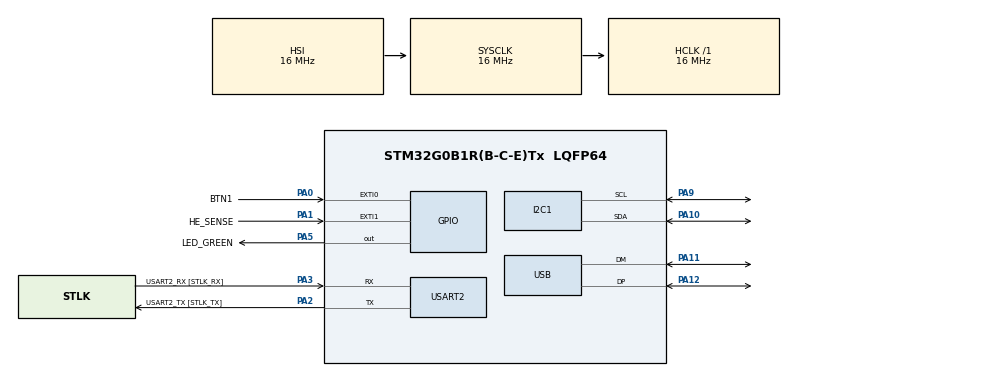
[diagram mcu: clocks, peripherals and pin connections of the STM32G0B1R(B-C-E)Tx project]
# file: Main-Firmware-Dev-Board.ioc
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Mcu.Family=STM32G0
Mcu.Name=STM32G0B1R(B-C-E)Tx
Mcu.Package=LQFP64
NVIC.EXTI0_1_IRQn=true\:0\:0\:false\:false\:true\:true\:true\:true
NVIC.TIM2_IRQn=true\:0\:0\:false\:false\:true\:true\:true\:true
NVIC.TIM3_TIM4_IRQn=true\:0\:0\:false\:false\:true\:true\:true\:true
NVIC.TIM6_DAC_LPTIM1_IRQn=true\:0\:0\:false\:false\:true\:true\:true\:true
NVIC.USB_UCPD1_2_IRQn=true\:1\:0\:true\:false\:true\:true\:true\:true
PA0.GPIO_Label=BTN1
PA0.GPIO_ModeDefaultEXTI=GPIO_MODE_IT_FALLING
PA0.GPIO_PuPd=GPIO_PULLUP
PA0.Signal=GPXTI0
PA1.GPIO_Label=HE_SENSE
PA1.GPIO_ModeDefaultEXTI=GPIO_MODE_IT_FALLING
PA1.GPIO_PuPd=GPIO_PULLDOWN
PA1.Signal=GPXTI1
PA10.Mode=I2C
PA10.Signal=I2C1_SDA
PA11\ [PA9].Mode=Device
PA11\ [PA9].Signal=USB_DM
PA12\ [PA10].Mode=Device
PA12\ [PA10].Signal=USB_DP
PA13.GPIO_Label=TMS
PA13.Mode=Serial_Wire
PA13.Signal=SYS_SWDIO
PA14-BOOT0.GPIO_Label=TCK
PA14-BOOT0.Mode=Serial_Wire
PA14-BOOT0.Signal=SYS_SWCLK
PA2.GPIO_Label=USART2_TX [STLK_TX]
PA2.Mode=Asynchronous
PA2.Signal=USART2_TX
PA3.GPIO_Label=USART2_RX [STLK_RX]
PA3.Mode=Asynchronous
PA3.Signal=USART2_RX
PA5.GPIO_Label=LED_GREEN
PA5.GPIO_Speed=GPIO_SPEED_FREQ_HIGH
PA5.Signal=GPIO_Output
PA9.Mode=I2C
PA9.Signal=I2C1_SCL
PC13.Mode=SYS_WakeUp1
PC13.Signal=SYS_WKUP2
PC14-OSC32_IN\ (PC14).Mode=LSE-External-Oscillator
PC14-OSC32_IN\ (PC14).Signal=RCC_OSC32_IN
PC15-OSC32_OUT\ (PC15).Mode=LSE-External-Oscillator
PC15-OSC32_OUT\ (PC15).Signal=RCC_OSC32_OUT
PF0-OSC_IN\ (PF0).GPIO_Label=MCO
PF0-OSC_IN\ (PF0).Mode=HSE-External-Clock-Source
PF0-OSC_IN\ (PF0).Signal=RCC_OSC_IN
ProjectManager.HeapSize=0x200
ProjectManager.StackSize=0x400
ProjectManager.TargetToolchain=STM32CubeIDE
RCC.AHBFreq_Value=16000000
RCC.CortexFreq_Value=16000000
RCC.EXTERNAL_CLOCK_VALUE=12288000
RCC.HCLKFreq_Value=16000000
RCC.HSE_VALUE=8000000
RCC.HSI48_VALUE=48000000
RCC.HSI_VALUE=16000000
RCC.SYSCLKFreq_VALUE=16000000
RCC.USBFreq_Value=48000000
RCC.VCOOutputFreq_Value=128000000
TIM2.Period=166
TIM2.Prescaler=1599
TIM3.Period=50
TIM3.Prescaler=32000
TIM4.Period=50
TIM4.Prescaler=32000
TIM6.AutoReloadPreload=TIM_AUTORELOAD_PRELOAD_ENABLE
TIM6.Period=3000
TIM6.Prescaler=15999
USART2.VirtualMode-Asynchronous=VM_ASYNC
USB_DEVICE.CLASS_NAME_FS=CUSTOM_HID
USB_DEVICE.PID_CUSTOMHID_FS=22555
USB_DEVICE.PRODUCT_STRING_CUSTOMHID_FS=Kryofox Rage Quit Button
USB_DEVICE.USBD_CUSTOMHID_OUTREPORT_BUF_SIZE=64
USB_DEVICE.USBD_CUSTOM_HID_REPORT_DESC_SIZE=33
USB_DEVICE.VirtualMode=CustomHid
USB_DEVICE.VirtualModeFS=Custom_Hid_FS
VP_TIM2_VS_ClockSourceINT.Mode=Internal
VP_TIM3_VS_ClockSourceINT.Mode=Internal
VP_TIM4_VS_ClockSourceINT.Mode=Internal
VP_TIM6_VS_ClockSourceINT.Mode=Enable_Timer
VP_USB_DEVICE_VS_USB_DEVICE_CUSTOM_HID_FS.Mode=CUSTOM_HID_FS
board=NUCLEO-G0B1RE

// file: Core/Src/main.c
/* USER CODE BEGIN Header */
/**
  ******************************************************************************
  * @file           : main.c
  * @brief          : Main program body
  ******************************************************************************
  * @attention
  *
  * Copyright (c) 2023 STMicroelectronics.
  * All rights reserved.
  *
  * This software is licensed under terms that can be found in the LICENSE file
  * in the root directory of this software component.
  * If no LICENSE file comes with this software, it is provided AS-IS.
  *
  ******************************************************************************
  */
/* USER CODE END Header */
#include "main.h"
#include "usb_device.h"

/* USER CODE BEGIN Includes */
#include <stdbool.h>
#include "LP5024_Driver.h"
#include "LED_Handler.h"
/* USER CODE END Includes */

/* USER CODE BEGIN PD */
  #define REPORT_NONE            0x00
  #define REPORT_IDLE_LIGHT      0x01
  #define REPORT_BUTTON_LIGHT    0x02
  #define REPORT_LID_LIFT_LIGHT  0x03
  #define REPORT_BUTTON_DURATION 0x04
  #define BULK_SETTINGS_LOAD     0x05

  #define BTN_PRESS_CMD "btn"
  #define SETT_REQ_CMD "req"

/* USER CODE END PD */

I2C_HandleTypeDef hi2c1;

TIM_HandleTypeDef htim2;
TIM_HandleTypeDef htim3;
TIM_HandleTypeDef htim4;
TIM_HandleTypeDef htim6;

UART_HandleTypeDef huart2;

/* USER CODE BEGIN PV */
uint8_t tx_buffer[64];		//Variable to store the output data
uint8_t report_buffer[64];		//Variable to receive the report buffer

volatile bool btn_flag = true;
volatile bool hse_flag = true;

volatile uint8_t flag = 0;			//Variable to store the button flag
volatile bool flag_rx = false;	//Variable to store the reception flag
volatile bool flag_settingReq = false;
volatile bool flag_btnLight = false;
volatile uint16_t reqSettingCnt = 0;
volatile bool settingsLoaded = false;
volatile bool update_led = false;

//extern the USB handler
extern USBD_HandleTypeDef hUsbDeviceFS;

/* USER CODE END PV */

void SystemClock_Config(void);
static void MX_GPIO_Init(void);
static void MX_USART2_UART_Init(void);
static void MX_I2C1_Init(void);
static void MX_TIM2_Init(void);
static void MX_TIM3_Init(void);
static void MX_TIM4_Init(void);
static void MX_TIM6_Init(void);

int main(void)
{

  /* MCU Configuration--------------------------------------------------------*/

  /* Reset of all peripherals, Initializes the Flash interface and the Systick. */
  HAL_Init();

  /* Configure the system clock */
  SystemClock_Config();

  /* Initialize all configured peripherals */
  MX_GPIO_Init();
  MX_USART2_UART_Init();
  MX_I2C1_Init();
  MX_USB_Device_Init();
  MX_TIM2_Init();
  MX_TIM3_Init();
  MX_TIM4_Init();
  MX_TIM6_Init();
  /* USER CODE BEGIN 2 */
  LP5024_Init();

  /* Start TIM2 */
  HAL_TIM_Base_Start_IT(&htim2);

  /* USER CODE END 2 */

  /* Infinite loop */
  /* USER CODE BEGIN WHILE */
  while(1)
  {
    if(flag_settingReq){
      tx_buffer[0] = '\0';
      memcpy(tx_buffer, SETT_REQ_CMD, sizeof(SETT_REQ_CMD));
      USBD_CUSTOM_HID_SendReport_FS(tx_buffer, 64);
      flag_settingReq = false;
    }

		if (flag_rx) {
			//Check if the first byte of the report buffer equals 1
			if (report_buffer[0] == REPORT_IDLE_LIGHT) {
				uint32_t theSetting = (report_buffer[2] << 16) | (report_buffer[3] << 8) | report_buffer[4];
				UpdateLightingConfiguration(&idleLightingConfig, report_buffer[1], theSetting);
			} else if (report_buffer[0] == REPORT_BUTTON_LIGHT) {
				uint32_t theSetting = (report_buffer[2] << 16) | (report_buffer[3] << 8) | report_buffer[4];
				UpdateLightingConfiguration(&buttonPressLightingConfig, report_buffer[1], theSetting);
			} else if (report_buffer[0] == REPORT_LID_LIFT_LIGHT) {
				uint32_t theSetting = (report_buffer[2] << 16) | (report_buffer[3] << 8) | report_buffer[4];
				UpdateLightingConfiguration(&lidLiftLightingConfig, report_buffer[1], theSetting);
      } else if (report_buffer[0] == REPORT_BUTTON_DURATION) {
        uint32_t theSetting = (report_buffer[2] << 16) | (report_buffer[3] << 8) | report_buffer[4];
        UpdateButtonConfiguration(&buttonConfig, report_buffer[1], theSetting);
			} else if (report_buffer[0] == BULK_SETTINGS_LOAD) {
				updateBulkLightSettings(report_buffer, sizeof report_buffer);
        settingsLoaded = true;
			}
			flag_rx = false;
		}

    if(flag_btnLight)
    {
      activeLightingConfig = &buttonPressLightingConfig;
    }
    else if(!hse_flag)
    {
      activeLightingConfig = &lidLiftLightingConfig;
    }
    else
    {
      activeLightingConfig = &idleLightingConfig;
    }

		if (update_led) {

      LightingHandler();

			// Reset flag
			update_led = false;

      if(reqSettingCnt > 180)
      {
        flag_settingReq = true;
        reqSettingCnt = 0;
      }
		}
    /* USER CODE END WHILE */

    }
}

void SystemClock_Config(void)
{
  RCC_OscInitTypeDef RCC_OscInitStruct = {0};
  RCC_ClkInitTypeDef RCC_ClkInitStruct = {0};

  /** Configure the main internal regulator output voltage
  */
  HAL_PWREx_ControlVoltageScaling(PWR_REGULATOR_VOLTAGE_SCALE1);

  /** Initializes the RCC Oscillators according to the specified parameters
  * in the RCC_OscInitTypeDef structure.
  */
  RCC_OscInitStruct.OscillatorType = RCC_OSCILLATORTYPE_HSI|RCC_OSCILLATORTYPE_HSI48;
  RCC_OscInitStruct.HSIState = RCC_HSI_ON;
  RCC_OscInitStruct.HSI48State = RCC_HSI48_ON;
  RCC_OscInitStruct.HSIDiv = RCC_HSI_DIV1;
  RCC_OscInitStruct.HSICalibrationValue = RCC_HSICALIBRATION_DEFAULT;
  RCC_OscInitStruct.PLL.PLLState = RCC_PLL_NONE;
  if (HAL_RCC_OscConfig(&RCC_OscInitStruct) != HAL_OK)
  {
    Error_Handler();
  }

  /** Initializes the CPU, AHB and APB buses clocks
  */
  RCC_ClkInitStruct.ClockType = RCC_CLOCKTYPE_HCLK|RCC_CLOCKTYPE_SYSCLK
                              |RCC_CLOCKTYPE_PCLK1;
  RCC_ClkInitStruct.SYSCLKSource = RCC_SYSCLKSOURCE_HSI;
  RCC_ClkInitStruct.AHBCLKDivider = RCC_SYSCLK_DIV1;
  RCC_ClkInitStruct.APB1CLKDivider = RCC_HCLK_DIV1;

  if (HAL_RCC_ClockConfig(&RCC_ClkInitStruct, FLASH_LATENCY_0) != HAL_OK)
  {
    Error_Handler();
  }
}

static void MX_I2C1_Init(void)
{

  hi2c1.Instance = I2C1;
  hi2c1.Init.Timing = 0x00303D5B;
  hi2c1.Init.OwnAddress1 = 0;
  hi2c1.Init.AddressingMode = I2C_ADDRESSINGMODE_7BIT;
  hi2c1.Init.DualAddressMode = I2C_DUALADDRESS_DISABLE;
  hi2c1.Init.OwnAddress2 = 0;
  hi2c1.Init.OwnAddress2Masks = I2C_OA2_NOMASK;
  hi2c1.Init.GeneralCallMode = I2C_GENERALCALL_DISABLE;
  hi2c1.Init.NoStretchMode = I2C_NOSTRETCH_DISABLE;
  if (HAL_I2C_Init(&hi2c1) != HAL_OK)
  {
    Error_Handler();
  }

  /** Configure Analogue filter
  */
  if (HAL_I2CEx_ConfigAnalogFilter(&hi2c1, I2C_ANALOGFILTER_ENABLE) != HAL_OK)
  {
    Error_Handler();
  }

  /** Configure Digital filter
  */
  if (HAL_I2CEx_ConfigDigitalFilter(&hi2c1, 0) != HAL_OK)
  {
    Error_Handler();
  }

}

static void MX_TIM2_Init(void)
{

  TIM_ClockConfigTypeDef sClockSourceConfig = {0};
  TIM_MasterConfigTypeDef sMasterConfig = {0};

  htim2.Instance = TIM2;
  htim2.Init.Prescaler = 1599;
  htim2.Init.CounterMode = TIM_COUNTERMODE_UP;
  htim2.Init.Period = 166;
  htim2.Init.ClockDivision = TIM_CLOCKDIVISION_DIV1;
  htim2.Init.AutoReloadPreload = TIM_AUTORELOAD_PRELOAD_DISABLE;
  if (HAL_TIM_Base_Init(&htim2) != HAL_OK)
  {
    Error_Handler();
  }
  sClockSourceConfig.ClockSource = TIM_CLOCKSOURCE_INTERNAL;
  if (HAL_TIM_ConfigClockSource(&htim2, &sClockSourceConfig) != HAL_OK)
  {
    Error_Handler();
  }
  sMasterConfig.MasterOutputTrigger = TIM_TRGO_RESET;
  sMasterConfig.MasterSlaveMode = TIM_MASTERSLAVEMODE_DISABLE;
  if (HAL_TIMEx_MasterConfigSynchronization(&htim2, &sMasterConfig) != HAL_OK)
  {
    Error_Handler();
  }

}

static void MX_TIM3_Init(void)
{

  TIM_ClockConfigTypeDef sClockSourceConfig = {0};
  TIM_MasterConfigTypeDef sMasterConfig = {0};

  htim3.Instance = TIM3;
  htim3.Init.Prescaler = 32000;
  htim3.Init.CounterMode = TIM_COUNTERMODE_UP;
  htim3.Init.Period = 50;
  htim3.Init.ClockDivision = TIM_CLOCKDIVISION_DIV1;
  htim3.Init.AutoReloadPreload = TIM_AUTORELOAD_PRELOAD_DISABLE;
  if (HAL_TIM_Base_Init(&htim3) != HAL_OK)
  {
    Error_Handler();
  }
  sClockSourceConfig.ClockSource = TIM_CLOCKSOURCE_INTERNAL;
  if (HAL_TIM_ConfigClockSource(&htim3, &sClockSourceConfig) != HAL_OK)
  {
    Error_Handler();
  }
  sMasterConfig.MasterOutputTrigger = TIM_TRGO_RESET;
  sMasterConfig.MasterSlaveMode = TIM_MASTERSLAVEMODE_DISABLE;
  if (HAL_TIMEx_MasterConfigSynchronization(&htim3, &sMasterConfig) != HAL_OK)
  {
    Error_Handler();
  }

}

static void MX_TIM4_Init(void)
{

  TIM_ClockConfigTypeDef sClockSourceConfig = {0};
  TIM_MasterConfigTypeDef sMasterConfig = {0};

  htim4.Instance = TIM4;
  htim4.Init.Prescaler = 32000;
  htim4.Init.CounterMode = TIM_COUNTERMODE_UP;
  htim4.Init.Period = 50;
  htim4.Init.ClockDivision = TIM_CLOCKDIVISION_DIV1;
  htim4.Init.AutoReloadPreload = TIM_AUTORELOAD_PRELOAD_DISABLE;
  if (HAL_TIM_Base_Init(&htim4) != HAL_OK)
  {
    Error_Handler();
  }
  sClockSourceConfig.ClockSource = TIM_CLOCKSOURCE_INTERNAL;
  if (HAL_TIM_ConfigClockSource(&htim4, &sClockSourceConfig) != HAL_OK)
  {
    Error_Handler();
  }
  sMasterConfig.MasterOutputTrigger = TIM_TRGO_RESET;
  sMasterConfig.MasterSlaveMode = TIM_MASTERSLAVEMODE_DISABLE;
  if (HAL_TIMEx_MasterConfigSynchronization(&htim4, &sMasterConfig) != HAL_OK)
  {
    Error_Handler();
  }

}

static void MX_TIM6_Init(void)
{

  TIM_MasterConfigTypeDef sMasterConfig = {0};

  htim6.Instance = TIM6;
  htim6.Init.Prescaler = 15999;
  htim6.Init.CounterMode = TIM_COUNTERMODE_UP;
  htim6.Init.Period = 3000;
  htim6.Init.AutoReloadPreload = TIM_AUTORELOAD_PRELOAD_ENABLE;
  if (HAL_TIM_Base_Init(&htim6) != HAL_OK)
  {
    Error_Handler();
  }
  sMasterConfig.MasterOutputTrigger = TIM_TRGO_RESET;
  sMasterConfig.MasterSlaveMode = TIM_MASTERSLAVEMODE_DISABLE;
  if (HAL_TIMEx_MasterConfigSynchronization(&htim6, &sMasterConfig) != HAL_OK)
  {
    Error_Handler();
  }

}

static void MX_USART2_UART_Init(void)
{

  huart2.Instance = USART2;
  huart2.Init.BaudRate = 115200;
  huart2.Init.WordLength = UART_WORDLENGTH_8B;
  huart2.Init.StopBits = UART_STOPBITS_1;
  huart2.Init.Parity = UART_PARITY_NONE;
  huart2.Init.Mode = UART_MODE_TX_RX;
  huart2.Init.HwFlowCtl = UART_HWCONTROL_NONE;
  huart2.Init.OverSampling = UART_OVERSAMPLING_16;
  huart2.Init.OneBitSampling = UART_ONE_BIT_SAMPLE_DISABLE;
  huart2.Init.ClockPrescaler = UART_PRESCALER_DIV1;
  huart2.AdvancedInit.AdvFeatureInit = UART_ADVFEATURE_NO_INIT;
  if (HAL_UART_Init(&huart2) != HAL_OK)
  {
    Error_Handler();
  }
  if (HAL_UARTEx_SetTxFifoThreshold(&huart2, UART_TXFIFO_THRESHOLD_1_8) != HAL_OK)
  {
    Error_Handler();
  }
  if (HAL_UARTEx_SetRxFifoThreshold(&huart2, UART_RXFIFO_THRESHOLD_1_8) != HAL_OK)
  {
    Error_Handler();
  }
  if (HAL_UARTEx_DisableFifoMode(&huart2) != HAL_OK)
  {
    Error_Handler();
  }

}

static void MX_GPIO_Init(void)
{
  GPIO_InitTypeDef GPIO_InitStruct = {0};

  /* GPIO Ports Clock Enable */
  __HAL_RCC_GPIOC_CLK_ENABLE();
  __HAL_RCC_GPIOF_CLK_ENABLE();
  __HAL_RCC_GPIOA_CLK_ENABLE();

  /*Configure GPIO pin Output Level */
  HAL_GPIO_WritePin(LED_GREEN_GPIO_Port, LED_GREEN_Pin, GPIO_PIN_RESET);

  /*Configure GPIO pin : BTN1_Pin */
  GPIO_InitStruct.Pin = BTN1_Pin;
  GPIO_InitStruct.Mode = GPIO_MODE_IT_FALLING;
  GPIO_InitStruct.Pull = GPIO_PULLUP;
  HAL_GPIO_Init(BTN1_GPIO_Port, &GPIO_InitStruct);

  /*Configure GPIO pin : HE_SENSE_Pin */
  GPIO_InitStruct.Pin = HE_SENSE_Pin;
  GPIO_InitStruct.Mode = GPIO_MODE_IT_FALLING;
  GPIO_InitStruct.Pull = GPIO_PULLDOWN;
  HAL_GPIO_Init(HE_SENSE_GPIO_Port, &GPIO_InitStruct);

  /*Configure GPIO pin : LED_GREEN_Pin */
  GPIO_InitStruct.Pin = LED_GREEN_Pin;
  GPIO_InitStruct.Mode = GPIO_MODE_OUTPUT_PP;
  GPIO_InitStruct.Pull = GPIO_NOPULL;
  GPIO_InitStruct.Speed = GPIO_SPEED_FREQ_HIGH;
  HAL_GPIO_Init(LED_GREEN_GPIO_Port, &GPIO_InitStruct);

  /* EXTI interrupt init*/
  HAL_NVIC_SetPriority(EXTI0_1_IRQn, 0, 0);
  HAL_NVIC_EnableIRQ(EXTI0_1_IRQn);

}

/* USER CODE BEGIN 4 */
void HAL_GPIO_EXTI_Falling_Callback(uint16_t GPIO_Pin)
{
  if(GPIO_Pin == BTN1_Pin && btn_flag == true)
  {
		HAL_TIM_Base_Start_IT(&htim4);
		btn_flag = false;
	}
  else if(GPIO_Pin == HE_SENSE_Pin && hse_flag == true)
  {
    HAL_TIM_Base_Start_IT(&htim3);
    hse_flag = false;
  }
	else{
		__NOP();
	}
}

void HAL_TIM_PeriodElapsedCallback(TIM_HandleTypeDef *htim)
{
  /* Prevent unused argument(s) compilation warning */
  UNUSED(htim);

  /* NOTE : This function should not be modified, when the callback is needed,
            the HAL_TIM_PeriodElapsedCallback could be implemented in the user file
   */
	if(HAL_GPIO_ReadPin(BTN1_GPIO_Port, BTN1_Pin) == GPIO_PIN_RESET){
    	tx_buffer[0] = '\0';
    	memcpy(tx_buffer, BTN_PRESS_CMD, sizeof(BTN_PRESS_CMD));
		  USBD_CUSTOM_HID_SendReport_FS(tx_buffer, 64);
      btn_flag = true;
      HAL_TIM_Base_Stop_IT(&htim4);

      // Set the auto-reload register to light_duration_ms
      __HAL_TIM_SET_AUTORELOAD(&htim6, buttonConfig.lightDuration*100);

        // Reset the timer counter
      __HAL_TIM_SET_COUNTER(&htim6, 0);

      // Start the timer
      HAL_TIM_Base_Start_IT(&htim6);

      flag_btnLight = true;
	}

  if(HAL_GPIO_ReadPin(HE_SENSE_GPIO_Port, HE_SENSE_Pin) == GPIO_PIN_SET && htim->Instance == TIM3)
  {
    hse_flag = true;
		HAL_TIM_Base_Stop_IT(&htim3);
  }

	if(htim->Instance == TIM2){
		// Set flag to update LED
		update_led = true;

    if(!settingsLoaded)
      reqSettingCnt++;
	}

  if(htim->Instance == TIM6){
    flag_btnLight = false;
  }
}

/* USER CODE END 4 */

void Error_Handler(void)
{
  __disable_irq();
  while (1)
  {
  }
}
